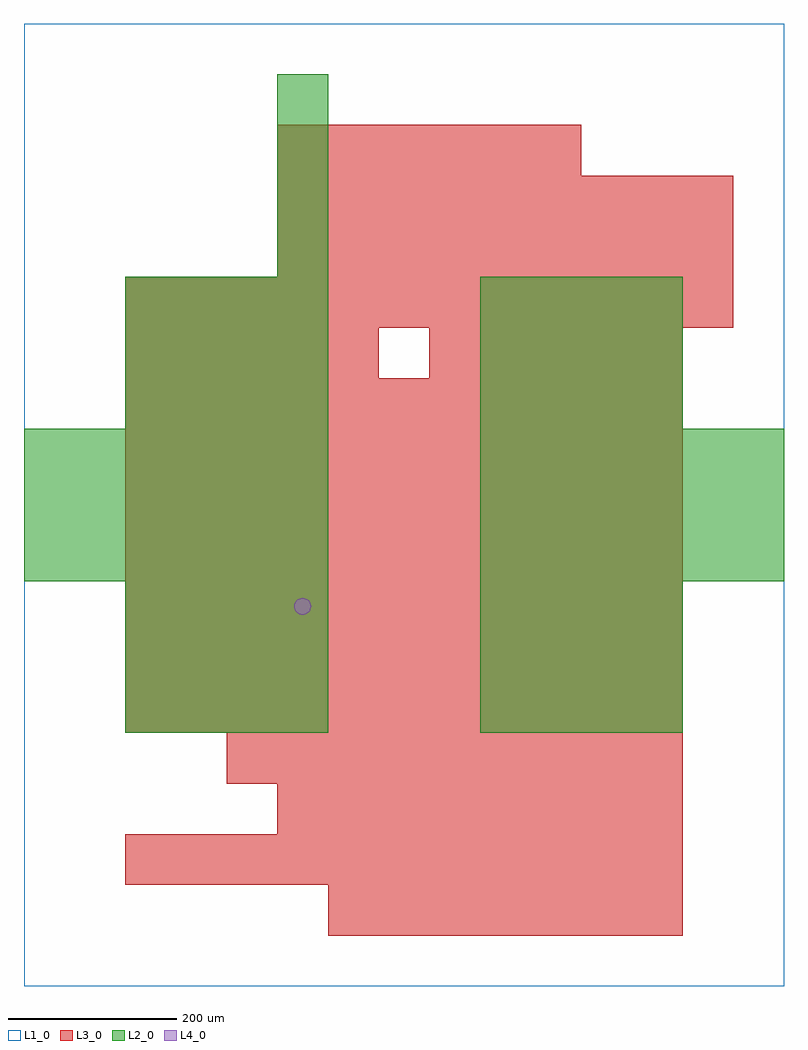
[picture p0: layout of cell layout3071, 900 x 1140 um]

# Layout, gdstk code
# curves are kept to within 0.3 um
import gdstk
lib = gdstk.Library(unit=1e-6, precision=1e-09)
def R(c, l, rs):  # rectangles x0, y0, x1, y1
    for r in rs: c.add(gdstk.rectangle(r[:2], r[2:], *l))
def A(c, l, x, y, w, h, nx, ny, dx, dy):  # array of equal rectangles
    R(c, l, [(x+i*dx, y+j*dy, x+i*dx+w, y+j*dy+h) for i in range(nx) for j in range(ny)])
def P(c, l, *ps):  # polygons
    for p in ps: c.add(gdstk.Polygon(p, *l))
L1_0 = (1, 0)
L2_0 = (2, 0)
L3_0 = (3, 0)
L4_0 = (4, 0)

layout3071 = lib.new_cell('layout3071')
R(layout3071, L1_0, [(0,0,900,1140)])
A(layout3071, L2_0, 120, 300, 60, 60, 4, 3, 60, 60)
A(layout3071, L2_0, 540, 300, 60, 60, 4, 3, 60, 60)
A(layout3071, L2_0, 0, 480, 60, 60, 6, 3, 60, 60)
A(layout3071, L2_0, 540, 480, 60, 60, 6, 3, 60, 60)
A(layout3071, L2_0, 120, 660, 60, 60, 4, 3, 60, 60)
A(layout3071, L2_0, 540, 660, 60, 60, 4, 3, 60, 60)
A(layout3071, L2_0, 300, 840, 60, 60, 1, 4, 0, 60)
A(layout3071, L3_0, 360, 60, 60, 60, 7, 1, 60, 0)
A(layout3071, L3_0, 120, 120, 60, 60, 11, 2, 60, 180)
A(layout3071, L3_0, 300, 180, 60, 60, 8, 1, 60, 0)
A(layout3071, L3_0, 240, 240, 60, 60, 9, 1, 60, 0)
A(layout3071, L3_0, 120, 360, 60, 60, 11, 6, 60, 60)
A(layout3071, L3_0, 120, 720, 60, 60, 5, 1, 60, 0)
A(layout3071, L3_0, 480, 720, 60, 60, 5, 1, 60, 0)
A(layout3071, L3_0, 120, 780, 60, 60, 12, 1, 60, 0)
A(layout3071, L3_0, 300, 840, 60, 60, 9, 2, 60, 60)
A(layout3071, L3_0, 300, 960, 60, 60, 6, 1, 60, 0)
P(layout3071, L4_0, [(340,450),(339.239,453.827),(337.071,457.071),(333.827,459.239),(330,460),(326.173,459.239),(322.929,457.071),(320.761,453.827),(320,450),(320.761,446.173),(322.929,442.929),(326.173,440.761),(330,440),(333.827,440.761),(337.071,442.929),(339.239,446.173)])

lib.write_gds('layout3071.gds')
